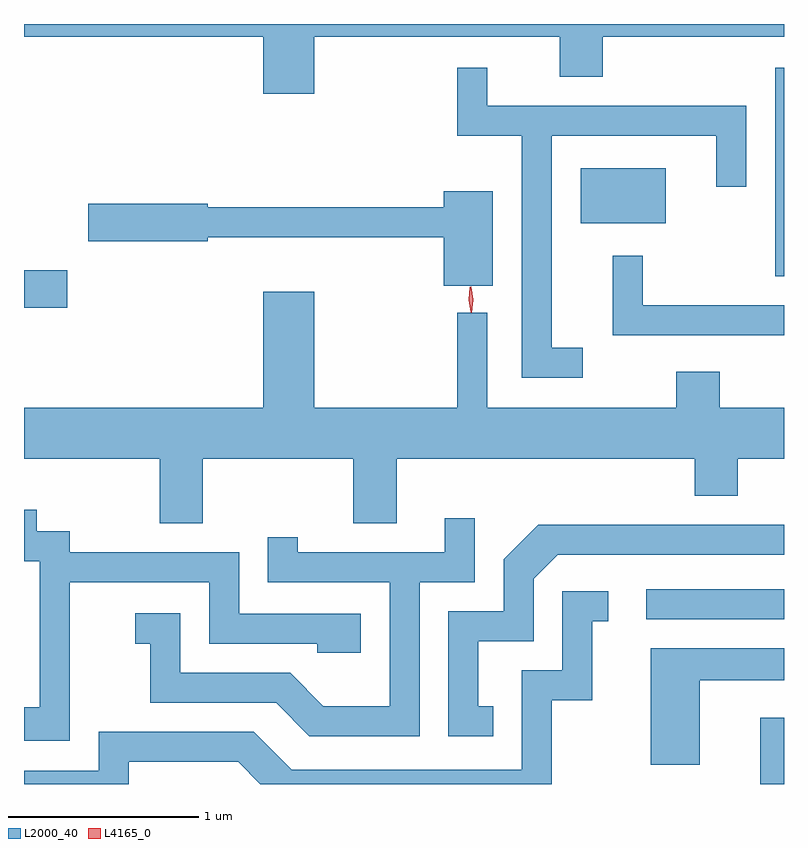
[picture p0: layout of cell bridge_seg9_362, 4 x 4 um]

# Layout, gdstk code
import gdstk
lib = gdstk.Library(unit=1e-6, precision=1e-09)
def R(c, l, rs):  # rectangles x0, y0, x1, y1
    for r in rs: c.add(gdstk.rectangle(r[:2], r[2:], *l))
def P(c, l, *ps):  # polygons
    for p in ps: c.add(gdstk.Polygon(p, *l))
L2000_40 = (2000, 40)
L4165_0 = (4165, 0)

bridge_seg9_362 = lib.new_cell('bridge_seg9_362')
R(bridge_seg9_362, L2000_40, [(996.911,1992.324,997.037,1992.674), (996.313,1993.191,997.037,1993.349), (993.037,1994.831,993.264,1995.029), (996.991,1994.996,997.037,1996.093), (995.966,1995.276,996.414,1995.564)])
P(bridge_seg9_362, L2000_40, [(994.564,1996.256),(995.856,1996.256),(995.856,1996.046),(996.084,1996.046),(996.084,1996.256),(997.037,1996.256),(997.037,1996.324),(993.037,1996.324),(993.037,1996.256),(994.296,1996.256),(994.296,1995.956),(994.564,1995.956)],
  [(995.978,1994.619),(995.814,1994.619),(995.814,1995.736),(996.681,1995.736),(996.681,1995.468),(996.839,1995.468),(996.839,1995.894),(995.474,1995.894),(995.474,1996.093),(995.316,1996.093),(995.316,1995.736),(995.656,1995.736),(995.656,1994.461),(995.978,1994.461)],
  [(995.504,1995.444),(995.246,1995.444),(995.246,1995.359),(994.004,1995.359),(994.004,1995.379),(993.376,1995.379),(993.376,1995.181),(994.004,1995.181),(994.004,1995.201),(995.246,1995.201),(995.246,1994.946),(995.504,1994.946)],
  [(997.037,1994.844),(996.294,1994.844),(996.294,1995.103),(996.136,1995.103),(996.136,1994.686),(997.037,1994.686)],
  [(993.979,1994.036),(994.771,1994.036),(994.771,1993.696),(994.999,1993.696),(994.999,1994.036),(996.566,1994.036),(996.566,1993.841),(996.794,1993.841),(996.794,1994.036),(997.037,1994.036),(997.037,1994.304),(996.699,1994.304),(996.699,1994.494),(996.471,1994.494),(996.471,1994.304),(995.474,1994.304),(995.474,1994.803),(995.316,1994.803),(995.316,1994.304),(994.564,1994.304),(994.564,1994.914),(994.296,1994.914),(994.296,1994.304),(993.037,1994.304),(993.037,1994.036),(993.751,1994.036),(993.751,1993.696),(993.979,1993.696)],
  [(993.279,1993.386),(994.011,1993.386),(994.011,1993.061),(994.581,1993.061),(994.581,1993.016),(994.809,1993.016),(994.809,1993.219),(994.169,1993.219),(994.169,1993.544),(993.279,1993.544),(993.279,1993.654),(993.104,1993.654),(993.104,1993.768),(993.037,1993.768),(993.037,1993.496),(993.121,1993.496),(993.121,1992.729),(993.037,1992.729),(993.037,1992.551),(993.279,1992.551)],
  [(995.119,1993.386),(995.409,1993.386),(995.409,1993.723),(995.251,1993.723),(995.251,1993.544),(994.479,1993.544),(994.479,1993.623),(994.321,1993.623),(994.321,1993.386),(994.961,1993.386),(994.961,1992.734),(994.612,1992.734),(994.437,1992.909),(993.859,1992.909),(993.859,1993.224),(993.623,1993.224),(993.623,1993.061),(993.701,1993.061),(993.701,1992.751),(994.364,1992.751),(994.539,1992.576),(995.119,1992.576)],
  [(995.508,1992.734),(995.429,1992.734),(995.429,1993.076),(995.719,1993.076),(995.719,1993.404),(995.847,1993.531),(997.037,1993.531),(997.037,1993.689),(995.744,1993.689),(995.561,1993.507),(995.561,1993.234),(995.271,1993.234),(995.271,1992.576),(995.508,1992.576)],
  [(993.589,1992.441),(994.164,1992.441),(994.281,1992.324),(995.814,1992.324),(995.814,1992.766),(996.029,1992.766),(996.029,1993.181),(996.113,1993.181),(996.113,1993.339),(995.871,1993.339),(995.871,1992.924),(995.656,1992.924),(995.656,1992.399),(994.447,1992.399),(994.247,1992.599),(993.431,1992.599),(993.431,1992.394),(993.037,1992.394),(993.037,1992.324),(993.589,1992.324)],
  [(996.594,1992.871),(997.037,1992.871),(997.037,1993.039),(996.336,1993.039),(996.336,1992.426),(996.594,1992.426)])
P(bridge_seg9_362, L4165_0, [(995.389,1994.808),(995.377,1994.873),(995.384,1994.939),(995.385,1994.939),(995.385,1994.939),(995.397,1994.874),(995.39,1994.808),(995.39,1994.808)],
  [(995.392,1994.805),(995.392,1994.805),(995.381,1994.874),(995.389,1994.942),(995.39,1994.942),(995.39,1994.942),(995.401,1994.874),(995.393,1994.805)])

lib.write_gds('bridge_seg9_362.gds')
